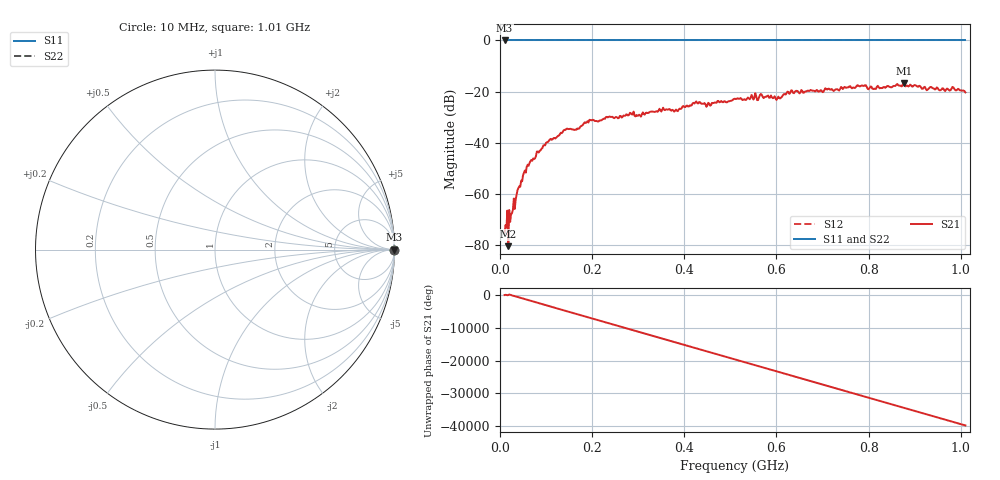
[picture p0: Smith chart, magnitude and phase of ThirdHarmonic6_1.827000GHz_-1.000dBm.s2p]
! 8/16/2025 10:08:07 PM
! C:\ANRITSUVNA\TEMP\TEMP.S2P
! CHANNEL.1
! TR.MEASUREMENT
! RAW.DATA
! RF.CORRECTION.OFF
! AVERAGING.OFF
! IF.BANDWIDTH: 5KHZ
! SWEEPTYPE:  FREQ.SWEEP(Linear)
! Reference Plane Port Info
! PORT:  PORT1  PORT2
! DISTANCE:  0  m  0  m
! TIME:  0  s  0  s
! PHASE.OFFSET:  0  deg.  0  deg.
! LOSS:  0  dB  0  dB
! REF.LOSS:  0  dB  0  dB
! REF.FREQ:  0  Hz  0  Hz
! Power Info
! POWER:  -20  dBm  -20  dBm
! EFF.POWER:  -20  dBm  -20  dBm
! SOURCE.ATTEN:  0  dB  0  dB
! TEST.ATTEN:  0  dB  0  dB
# GHZ S RI R 50.0
! FREQ.GHZ  S11RE  S11IM  S21RE  S21IM  S12RE  S12IM  S22RE  S22IM
!; PortSelection: Port_12
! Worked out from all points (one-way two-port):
!   501 points, 10 MHz to 1.01 GHz, reference 50 ohm
!   highest |S21| = -16.84 dB at 876 MHz (marker M1); lowest = -80.6 dB at 18 MHz (marker M2)
!   lowest |S11| = 0.0 dB at 10 MHz (marker M3)
!   |S11| at or under -10 dB: nowhere
!   |S22| runs from 0.0 to 0.0 dB; largest |S21 - S12| = 1.1
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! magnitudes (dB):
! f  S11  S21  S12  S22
! 10 MHz  0.0  -75.5  0.0  0.0
! 18 MHz  0.0  -80.6  0.0  0.0
! 22 MHz  0.0  -71.1  0.0  0.0
! 24 MHz  0.0  -68.1  0.0  0.0
! 42 MHz  0.0  -57.0  0.0  0.0
! 64 MHz  0.0  -48.0  0.0  0.0
! 106 MHz  0.0  -39.3  0.0  0.0
! 142 MHz  0.0  -35.1  0.0  0.0
! 178 MHz  0.0  -33.3  0.0  0.0
! 198 MHz  0.0  -31.3  0.0  0.0
! 344 MHz  0.0  -27.6  0.0  0.0
! 382 MHz  0.0  -27.1  0.0  0.0
! 422 MHz  0.0  -24.7  0.0  0.0
! 452 MHz  0.0  -24.4  0.0  0.0
! 510 MHz  0.0  -22.8  0.0  0.0
! 566 MHz  0.0  -21.0  0.0  0.0
! 604 MHz  0.0  -22.0  0.0  0.0
! 628 MHz  0.0  -20.9  0.0  0.0
! 678 MHz  0.0  -19.7  0.0  0.0
! 844 MHz  0.0  -18.1  0.0  0.0
! 876 MHz  0.0  -16.8  0.0  0.0
! 1.01 GHz  0.0  -20.3  0.0  0.0
